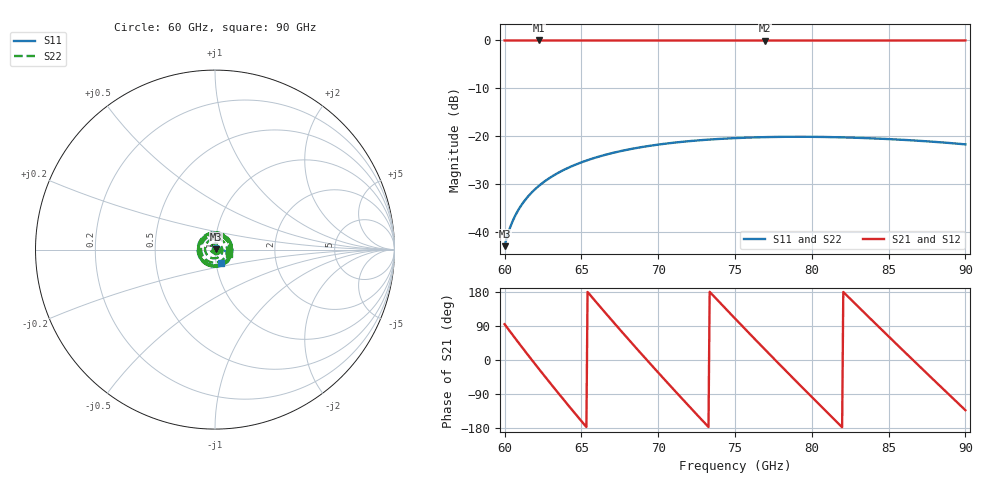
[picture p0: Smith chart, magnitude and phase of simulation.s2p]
! Touchstone file from project Project26
! Exported from HFSS 2014.0.7
! Variables:
!  wg2A = 122mil
!  wg2B = 61mil
!  wgA = 148mil
!  wgB = 74mil
!  wgLen = 1.616mm
!  wgLen2 = 122mil
!Data is not renormalized
# GHZ S MA R 50.0
! Modal data exported
! Port[1] = 1:1
! Port[2] = 2:1
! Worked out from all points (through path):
!   401 points, 60 GHz to 90 GHz, reference per port
!   highest |S21| = -0.09 dB at 62.25 GHz (marker M1); lowest = -0.1 dB at 76.95 GHz (marker M2)
!   lowest |S11| = -43.0 dB at 60 GHz (marker M3), VSWR 1.01
!   |S11| at or under -10 dB: start of sweep to end of sweep
!   |S22| runs from -43.1 to -20.3 dB; largest |S21 - S12| = 1.8e-14
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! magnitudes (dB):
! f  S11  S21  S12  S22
! 60 GHz  -43.0  -0.1  -0.1  -43.1
! 60.08 GHz  -42.0  -0.1  -0.1  -42.1
! 60.3 GHz  -39.6  -0.1  -0.1  -39.7
! 60.45 GHz  -38.3  -0.1  -0.1  -38.5
! 60.67 GHz  -36.7  -0.1  -0.1  -36.9
! 60.9 GHz  -35.4  -0.1  -0.1  -35.6
! 61.2 GHz  -33.9  -0.1  -0.1  -34.1
! 61.5 GHz  -32.7  -0.1  -0.1  -32.9
! 62.25 GHz  -30.3  -0.1  -0.1  -30.5
! 62.85 GHz  -28.9  -0.1  -0.1  -29.1
! 63.45 GHz  -27.7  -0.1  -0.1  -27.9
! 64.2 GHz  -26.5  -0.1  -0.1  -26.7
! 65.03 GHz  -25.5  -0.1  -0.1  -25.6
! 66.08 GHz  -24.4  -0.1  -0.1  -24.5
! 67.28 GHz  -23.4  -0.1  -0.1  -23.5
! 70.05 GHz  -21.8  -0.1  -0.1  -21.9
! 72.38 GHz  -21.0  -0.1  -0.1  -21.1
! 75 GHz  -20.4  -0.1  -0.1  -20.6
! 76.95 GHz  -20.2  -0.1  -0.1  -20.4
! 80.03 GHz  -20.2  -0.1  -0.1  -20.3
! 85.05 GHz  -20.7  -0.1  -0.1  -20.8
! 90 GHz  -21.7  -0.1  -0.1  -21.9
